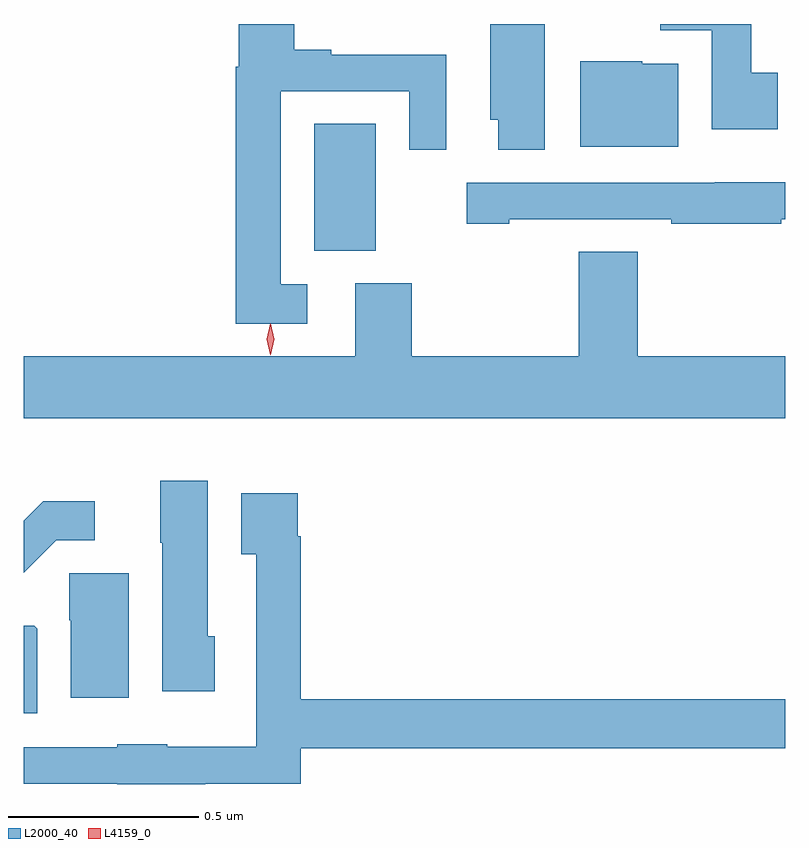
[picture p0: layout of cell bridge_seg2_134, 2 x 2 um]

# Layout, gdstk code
import gdstk
lib = gdstk.Library(unit=1e-6, precision=1e-09)
def R(c, l, rs):  # rectangles x0, y0, x1, y1
    for r in rs: c.add(gdstk.rectangle(r[:2], r[2:], *l))
def P(c, l, *ps):  # polygons
    for p in ps: c.add(gdstk.Polygon(p, *l))
L2000_40 = (2000, 40)
L4159_0 = (4159, 0)

bridge_seg2_134 = lib.new_cell('bridge_seg2_134')
R(bridge_seg2_134, L2000_40, [(480.341,602.788,480.502,603.122)])
P(bridge_seg2_134, L2000_40, [(480.946,603.384),(480.803,603.384),(480.803,603.132),(480.824,603.132),(480.824,603.054),(480.946,603.054)],
  [(481.558,603.256),(481.489,603.256),(481.489,603.384),(481.25,603.384),(481.25,603.368),(481.385,603.368),(481.385,603.108),(481.558,603.108)],
  [(480.322,602.7),(480.253,602.7),(480.253,603.207),(480.591,603.207),(480.591,603.054),(480.687,603.054),(480.687,603.303),(480.385,603.303),(480.385,603.316),(480.289,603.316),(480.289,603.384),(480.143,603.384),(480.143,603.272),(480.135,603.272),(480.135,602.597),(480.322,602.597)],
  [(481.297,603.28),(481.203,603.28),(481.203,603.286),(481.04,603.286),(481.04,603.062),(481.297,603.062)],
  [(480.853,602.871),(481.279,602.871),(481.279,602.859),(481.568,602.859),(481.568,602.871),(481.578,602.871),(481.578,602.968),(481.393,602.968),(481.393,602.967),(480.741,602.967),(480.741,602.859),(480.853,602.859)],
  [(481.578,602.512),(481.191,602.512),(481.191,602.786),(481.036,602.786),(481.036,602.512),(480.597,602.512),(480.597,602.703),(480.449,602.703),(480.449,602.512),(479.578,602.512),(479.578,602.348),(481.578,602.348)],
  [(480.079,601.776),(480.061,601.776),(480.061,602.185),(479.936,602.185),(479.936,602.022),(479.942,602.022),(479.942,601.632),(480.079,601.632)],
  [(480.055,601.389),(480.305,601.389),(480.305,601.482),(481.578,601.482),(481.578,601.61),(480.305,601.61),(480.305,602.039),(480.298,602.039),(480.298,602.152),(480.149,602.152),(480.149,601.991),(480.189,601.991),(480.189,601.486),(479.955,601.486),(479.955,601.492),(479.823,601.492),(479.823,601.485),(479.578,601.485),(479.578,601.389),(479.823,601.389),(479.823,601.388),(480.055,601.388)],
  [(479.664,602.028),(479.764,602.028),(479.764,602.131),(479.629,602.131),(479.578,602.08),(479.578,601.943)],
  [(479.854,601.941),(479.698,601.941),(479.698,601.818),(479.702,601.818),(479.702,601.614),(479.854,601.614)],
  [(479.614,601.796),(479.606,601.804),(479.578,601.804),(479.578,601.574),(479.614,601.574)])
P(bridge_seg2_134, L4159_0, [(480.226,602.515),(480.216,602.556),(480.226,602.597),(480.226,602.597),(480.227,602.597),(480.236,602.556),(480.227,602.515),(480.227,602.515)])

lib.write_gds('bridge_seg2_134.gds')
